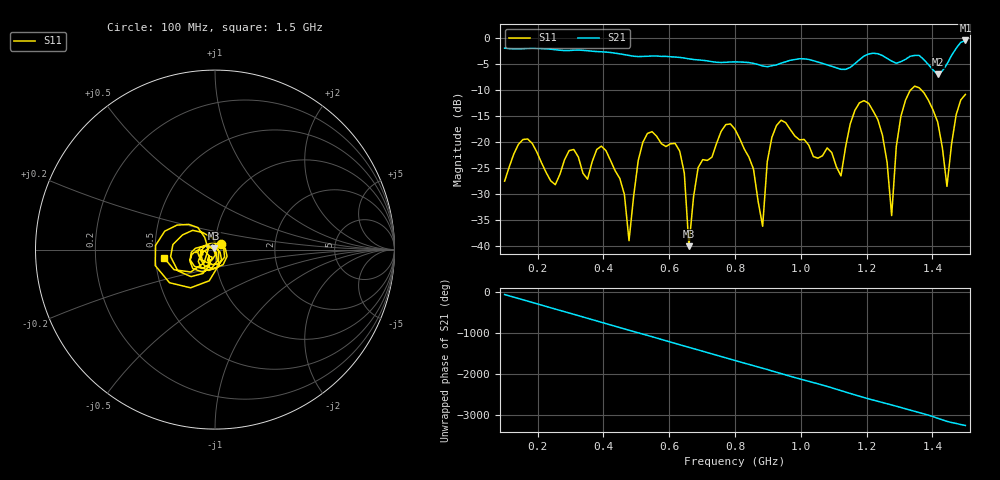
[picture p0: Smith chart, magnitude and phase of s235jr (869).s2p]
! NanoVNA-App
! Date: 2025-09-25 15:10:56
! Start: 100MHz Stop: 1,5GHz Points: 101
! S-Parameter data: F S11 S21 S12 S22
# Hz S RI R 50
!  Frequency  S11_Real  S11_Imag  S21_Real  S21_Imag  S12_Real  S12_Imag  S22_Real  S22_Imag
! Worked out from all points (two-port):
!   101 points, 100 MHz to 1.5 GHz, reference 50 ohm
!   highest |S21| = -0.48 dB at 1.5 GHz (marker M1); lowest = -7.0 dB at 1.416 GHz (marker M2)
!   |S21| within 3 dB of the highest: start of sweep to 490 MHz; 1.192 GHz to 1.251 GHz (58.85 MHz wide, 4.82 % of centre) (the widest 2 of 5)
!   lowest |S11| = -39.9 dB at 660 MHz (marker M3), VSWR 1.02, Z = 49.2 + j0.619 ohm
!   |S11| at or under -10 dB: start of sweep to 1.333 GHz; 1.366 GHz to end of sweep
!   S12 and S22 are empty: the file has one direction only
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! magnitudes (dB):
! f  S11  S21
! 100 MHz  -27.5  -2.0
! 170 MHz  -19.4  -2.0
! 338 MHz  -25.9  -2.4
! 408 MHz  -21.6  -2.7
! 478 MHz  -38.9  -3.4
! 520 MHz  -20.0  -3.5
! 576 MHz  -20.3  -3.5
! 632 MHz  -21.7  -3.7
! 660 MHz  -39.9  -4.0
! 688 MHz  -24.9  -4.2
! 800 MHz  -17.5  -4.6
! 884 MHz  -36.1  -5.4
! 926 MHz  -16.8  -5.2
! 1.038 GHz  -22.8  -4.4
! 1.122 GHz  -26.5  -6.0
! 1.206 GHz  -12.5  -3.1
! 1.276 GHz  -34.1  -4.4
! 1.29 GHz  -20.9  -4.9
! 1.332 GHz  -10.1  -3.5
! 1.416 GHz  -16.2  -7.0
! 1.444 GHz  -28.5  -5.0
! 1.5 GHz  -10.8  -0.5
